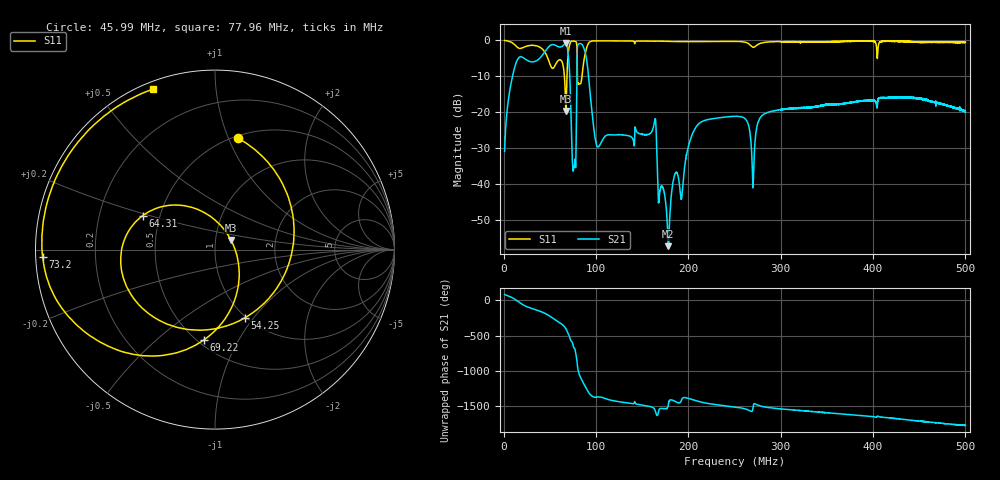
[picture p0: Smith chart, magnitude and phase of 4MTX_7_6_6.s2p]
! NanoVNA-App
! Date: 2026-08-18 21:22:21
! Start: 1MHz Stop: 500MHz Points: 6401
! S-Parameter data: F S11 S21 S12 S22
# Hz S RI R 50
!  Frequency  S11_Real  S11_Imag  S21_Real  S21_Imag  S12_Real  S12_Imag  S22_Real  S22_Imag
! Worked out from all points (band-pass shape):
!   6401 points, 1 MHz to 500 MHz, reference 50 ohm
!   highest |S21| = -0.88 dB at 67.12 MHz (marker M1); lowest = -57.4 dB at 178.3 MHz (marker M2)
!   |S21| within 3 dB of the highest: 42.88 MHz to 69.82 MHz (26.94 MHz wide, 47.8 % of centre); 79.53 MHz to 88.7 MHz (9.167 MHz wide, 10.9 % of centre)
!   lowest |S11| = -19.7 dB at 67.35 MHz (marker M3), VSWR 1.23, Z = 59.4 + j6.36 ohm
!   |S11| at or under -10 dB: 65.75 MHz to 68.49 MHz (2.745 MHz wide, 4.09 % of centre); 79.76 MHz to 84.85 MHz (5.092 MHz wide, 6.19 % of centre)
!   S12 and S22 are empty: the file has one direction only
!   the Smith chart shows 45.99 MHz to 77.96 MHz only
!   S11 on the Smith chart (normalised r, x): 45.99 MHz: 0.52, +1.08; 54.25 MHz: 0.98, -0.90; 64.31 MHz: 0.40, +0.19; 69.22 MHz: 0.54, -0.73; 73.2 MHz: 0.02, -0.02; 77.96 MHz: 0.03, +0.68
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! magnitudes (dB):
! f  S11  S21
! 1 MHz  -0.1  -30.9
! 14.49 MHz  -1.9  -5.6
! 45.99 MHz  -4.0  -2.8
! 54.25 MHz  -7.6  -1.3
! 64.31 MHz  -7.0  -1.5
! 67.12 MHz  -18.4  -0.9
! 67.35 MHz  -19.7  -0.9
! 69.22 MHz  -5.9  -2.6
! 73.2 MHz  -0.3  -24.3
! 75.93 MHz  -0.3  -35.6
! 77.96 MHz  -0.4  -35.4
! 84.19 MHz  -11.3  -1.1
! 101.3 MHz  -0.2  -29.6
! 162.7 MHz  -0.3  -23.6
! 167.4 MHz  -0.3  -44.5
! 178.3 MHz  -0.3  -57.4
! 207.6 MHz  -0.4  -24.4
! 250.5 MHz  -0.4  -21.2
! 270 MHz  -2.0  -41.1
! 333.7 MHz  -0.4  -18.7
! 416.9 MHz  -0.3  -16.1
! 500 MHz  -0.6  -19.9
